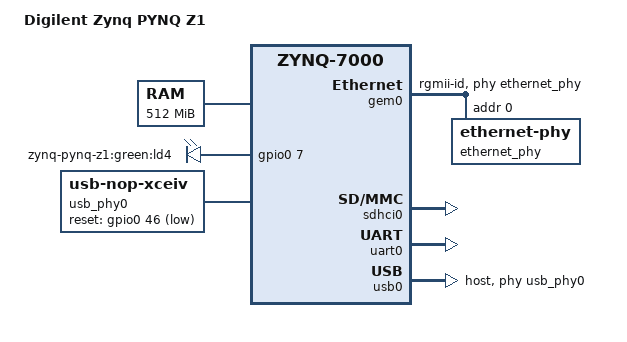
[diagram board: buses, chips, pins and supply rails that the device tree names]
// SPDX-License-Identifier: GPL-2.0+
/dts-v1/;
// Source: jpeezzy/pynq-1, nix/pkgs/kernel/0001-ARM-dts-pynq-Add-Digilent-Zynq-PYNQ-Z1-Board.patch
// (Florian Klink <flokli@flokli.de>). Only change from upstream: the
// zynq-7000.dtsi include path, since this kernel's dts reorg moved it
// under xilinx/ and BR2_LINUX_KERNEL_CUSTOM_DTS_PATH copies this file
// into the flat arch/arm/boot/dts/ root, not into xilinx/.
#include "xilinx/zynq-7000.dtsi"
#include <dt-bindings/gpio/gpio.h>

/ {
	model = "Digilent Zynq PYNQ Z1";
	compatible = "digilent,zynq-pynq-z1", "xlnx,zynq-7000";

	aliases {
		ethernet0 = &gem0;
		serial0 = &uart0;
	};

	memory@0 {
		device_type = "memory";
		reg = <0x0 0x20000000>;
	};

	chosen {
		bootargs = "";
		stdout-path = "serial0:115200n8";
	};

	gpio-leds {
		compatible = "gpio-leds";

		ld4 {
			label = "zynq-pynq-z1:green:ld4";
			gpios = <&gpio0 7 GPIO_ACTIVE_HIGH>;
		};
	};

	usb_phy0: phy0 {
		#phy-cells = <0>;
		compatible = "usb-nop-xceiv";
		reset-gpios = <&gpio0 46 GPIO_ACTIVE_LOW>;
	};
};

&clkc {
	ps-clk-frequency = <50000000>;
};

&gem0 {
	status = "okay";
	phy-mode = "rgmii-id";
	phy-handle = <&ethernet_phy>;

	ethernet_phy: ethernet-phy@0 {
		reg = <0>;
		device_type = "ethernet-phy";
	};
};

&sdhci0 {
	status = "okay";
};

&uart0 {
	status = "okay";
};

&usb0 {
	status = "okay";
	dr_mode = "host";
	usb-phy = <&usb_phy0>;
};
